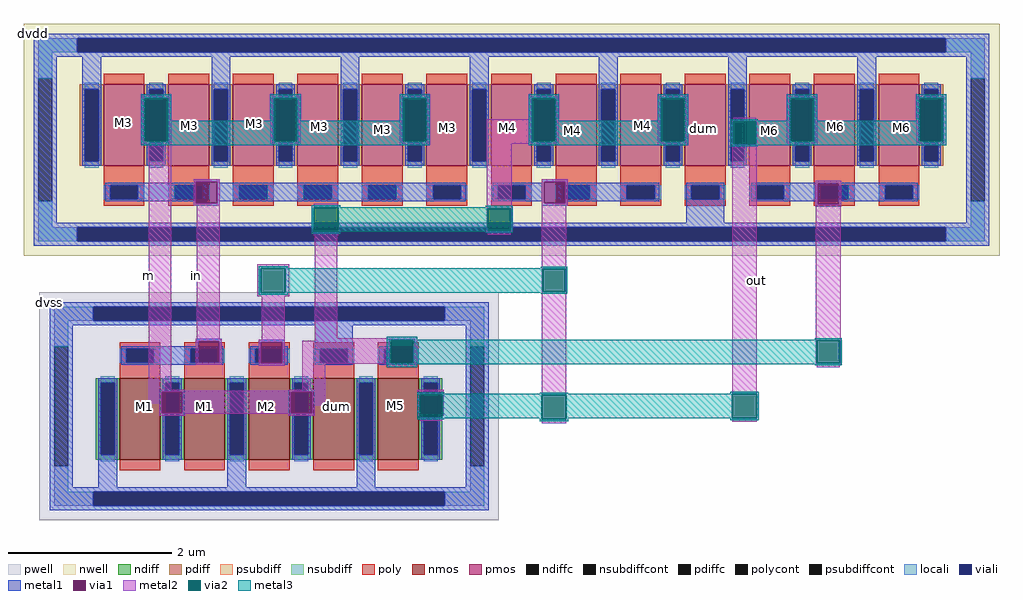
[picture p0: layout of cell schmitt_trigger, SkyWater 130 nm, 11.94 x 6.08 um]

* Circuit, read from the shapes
.subckt schmitt_trigger dvdd in out dvss
XM1 m in dvss dvss sky130_fd_pr__nfet_01v8 w=1 l=0.5 m=2
XM2 m out dvss dvss sky130_fd_pr__nfet_01v8 w=1 l=0.5
XM3 dvss dvss m dvss sky130_fd_pr__nfet_01v8 w=1 l=0.5
XM4 out m dvss dvss sky130_fd_pr__nfet_01v8 w=1 l=0.5
XM5 m in dvdd dvdd sky130_fd_pr__pfet_01v8 w=1 l=0.5 m=6
XM6 m out dvdd dvdd sky130_fd_pr__pfet_01v8 w=1 l=0.5 m=3
XM7 dvdd dvdd m dvdd sky130_fd_pr__pfet_01v8 w=1 l=0.5
XM8 out m dvdd dvdd sky130_fd_pr__pfet_01v8 w=1 l=0.5 m=3
.ends

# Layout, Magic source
magic
tech sky130A
magscale 1 2
<< nwell >>
rect 53 1015 99 1082
<< pwell >>
rect 622 374 714 425
rect 92 29 138 96
rect 408 29 454 96
rect 724 29 770 96
<< viali >>
rect 41 1093 2165 1127
rect 41 631 2165 665
rect 80 436 940 470
rect 80 -16 940 18
<< metal1 >>
rect -66 1127 2272 1138
rect -66 1093 41 1127
rect 2165 1093 2272 1127
rect -66 1082 2272 1093
rect -66 676 -10 1082
rect 53 1015 99 1082
rect 369 1015 415 1082
rect 685 1015 731 1082
rect 1001 1015 1047 1082
rect 1317 1015 1363 1082
rect 1633 1015 1679 1082
rect 1949 1015 1995 1082
rect 202 980 266 986
rect 202 876 208 980
rect 260 876 266 980
rect 202 870 266 876
rect 518 980 582 986
rect 518 876 524 980
rect 576 876 582 980
rect 518 870 582 876
rect 834 980 898 986
rect 834 876 840 980
rect 892 876 898 980
rect 834 870 898 876
rect 1150 980 1214 986
rect 1150 876 1156 980
rect 1208 876 1214 980
rect 1150 870 1214 876
rect 1466 980 1530 986
rect 1466 876 1472 980
rect 1524 876 1530 980
rect 1466 870 1530 876
rect 1782 980 1846 986
rect 1782 876 1788 980
rect 1840 876 1846 980
rect 1782 870 1846 876
rect 2098 980 2162 986
rect 2098 876 2104 980
rect 2156 876 2162 980
rect 2098 870 2162 876
rect 325 776 389 782
rect 325 774 331 776
rect 201 728 331 774
rect 325 724 331 728
rect 383 774 389 776
rect 1177 776 1241 782
rect 1177 774 1183 776
rect 383 728 899 774
rect 1149 728 1183 774
rect 383 724 389 728
rect 325 718 389 724
rect 1177 724 1183 728
rect 1235 774 1241 776
rect 1846 774 1910 779
rect 1235 728 1373 774
rect 1781 773 2005 774
rect 1781 728 1852 773
rect 1235 724 1241 728
rect 1177 718 1241 724
rect 1531 676 1623 728
rect 1846 721 1852 728
rect 1904 728 2005 773
rect 1904 721 1910 728
rect 1846 715 1910 721
rect 2216 676 2272 1082
rect -66 665 2272 676
rect -66 631 41 665
rect 2165 631 2272 665
rect -66 620 2272 631
rect -27 470 1047 481
rect -27 436 80 470
rect 940 436 1047 470
rect -27 425 1047 436
rect -27 29 29 425
rect 330 386 394 392
rect 240 328 306 374
rect 330 334 336 386
rect 388 334 394 386
rect 330 328 394 334
rect 484 384 548 390
rect 484 332 490 384
rect 542 332 548 384
rect 622 374 714 425
rect 803 386 867 392
rect 484 326 548 332
rect 803 334 809 386
rect 861 334 867 386
rect 803 328 867 334
rect 241 262 305 268
rect 241 210 247 262
rect 299 210 305 262
rect 241 204 305 210
rect 557 262 621 268
rect 557 210 563 262
rect 615 210 621 262
rect 557 204 621 210
rect 873 262 937 268
rect 873 210 879 262
rect 931 210 937 262
rect 873 204 937 210
rect 92 29 138 96
rect 408 29 454 96
rect 724 29 770 96
rect 991 29 1047 425
rect -27 18 1047 29
rect -27 -16 80 18
rect 940 -16 1047 18
rect -27 -27 1047 -16
<< via1 >>
rect 208 876 260 980
rect 524 876 576 980
rect 840 876 892 980
rect 1156 876 1208 980
rect 1472 876 1524 980
rect 1788 876 1840 980
rect 2104 876 2156 980
rect 331 724 383 776
rect 1183 724 1235 776
rect 1852 721 1904 773
rect 336 334 388 386
rect 490 332 542 384
rect 809 334 861 386
rect 247 210 299 262
rect 563 210 615 262
rect 879 210 931 262
<< metal2 >>
rect 197 981 271 990
rect 197 875 206 981
rect 262 875 271 981
rect 197 866 271 875
rect 513 981 587 990
rect 513 875 522 981
rect 578 875 587 981
rect 513 866 587 875
rect 829 981 903 990
rect 829 875 838 981
rect 894 875 903 981
rect 1145 981 1219 990
rect 1145 929 1154 981
rect 829 866 903 875
rect 1043 875 1154 929
rect 1210 875 1219 981
rect 1043 869 1219 875
rect 215 268 271 866
rect 325 776 389 782
rect 325 724 331 776
rect 383 724 389 776
rect 325 718 389 724
rect 333 392 389 718
rect 619 714 679 723
rect 1043 712 1103 869
rect 1145 866 1219 869
rect 1461 981 1535 990
rect 1461 875 1470 981
rect 1526 875 1535 981
rect 1777 981 1851 990
rect 1645 926 1701 933
rect 1461 866 1535 875
rect 1643 924 1703 926
rect 1643 868 1645 924
rect 1701 868 1703 924
rect 1043 656 1045 712
rect 1101 656 1103 712
rect 1043 654 1103 656
rect 1177 776 1241 782
rect 1177 724 1183 776
rect 1235 724 1241 776
rect 1177 718 1241 724
rect 619 645 679 654
rect 1045 647 1101 654
rect 481 565 559 574
rect 481 505 490 565
rect 550 505 559 565
rect 481 496 559 505
rect 330 386 394 392
rect 492 390 548 496
rect 330 334 336 386
rect 388 334 394 386
rect 330 328 394 334
rect 484 384 548 390
rect 621 394 677 645
rect 1177 563 1237 718
rect 1177 507 1179 563
rect 1235 507 1237 563
rect 798 394 872 397
rect 621 388 872 394
rect 621 387 807 388
rect 484 332 490 384
rect 542 332 548 384
rect 484 326 548 332
rect 591 332 807 387
rect 863 332 872 388
rect 591 331 872 332
rect 591 268 647 331
rect 798 323 872 331
rect 215 265 305 268
rect 557 265 647 268
rect 215 262 647 265
rect 215 234 247 262
rect 241 210 247 234
rect 299 210 563 262
rect 615 230 647 262
rect 873 262 937 268
rect 873 256 879 262
rect 931 256 937 262
rect 615 210 621 230
rect 241 209 621 210
rect 241 204 305 209
rect 557 204 621 209
rect 873 204 878 256
rect 934 204 937 256
rect 1177 255 1237 507
rect 878 191 934 200
rect 1177 186 1237 195
rect 1643 258 1703 868
rect 1777 875 1786 981
rect 1842 875 1851 981
rect 1777 866 1851 875
rect 2093 981 2167 990
rect 2093 875 2102 981
rect 2158 875 2167 981
rect 2093 866 2167 875
rect 1846 773 1910 779
rect 1846 721 1852 773
rect 1904 721 1910 773
rect 1846 715 1910 721
rect 1848 388 1908 715
rect 1848 332 1850 388
rect 1906 332 1908 388
rect 1848 330 1908 332
rect 1850 323 1906 330
rect 1643 189 1703 198
<< via2 >>
rect 206 980 262 981
rect 206 876 208 980
rect 208 876 260 980
rect 260 876 262 980
rect 206 875 262 876
rect 522 980 578 981
rect 522 876 524 980
rect 524 876 576 980
rect 576 876 578 980
rect 522 875 578 876
rect 838 980 894 981
rect 838 876 840 980
rect 840 876 892 980
rect 892 876 894 980
rect 838 875 894 876
rect 1154 980 1210 981
rect 1154 876 1156 980
rect 1156 876 1208 980
rect 1208 876 1210 980
rect 1154 875 1210 876
rect 619 654 679 714
rect 1470 980 1526 981
rect 1470 876 1472 980
rect 1472 876 1524 980
rect 1524 876 1526 980
rect 1470 875 1526 876
rect 1645 868 1701 924
rect 1045 656 1101 712
rect 490 505 550 565
rect 1179 507 1235 563
rect 807 386 863 388
rect 807 334 809 386
rect 809 334 861 386
rect 861 334 863 386
rect 807 332 863 334
rect 878 210 879 256
rect 879 210 931 256
rect 931 210 934 256
rect 878 200 934 210
rect 1177 195 1237 255
rect 1786 980 1842 981
rect 1786 876 1788 980
rect 1788 876 1840 980
rect 1840 876 1842 980
rect 1786 875 1842 876
rect 2102 980 2158 981
rect 2102 876 2104 980
rect 2104 876 2156 980
rect 2156 876 2158 980
rect 2102 875 2158 876
rect 1850 332 1906 388
rect 1643 198 1703 258
<< metal3 >>
rect 197 981 271 990
rect 197 875 206 981
rect 262 926 271 981
rect 513 981 587 990
rect 513 926 522 981
rect 262 875 522 926
rect 578 926 587 981
rect 829 981 903 990
rect 829 926 838 981
rect 578 875 838 926
rect 894 875 903 981
rect 197 866 903 875
rect 1145 981 1219 990
rect 1145 875 1154 981
rect 1210 926 1219 981
rect 1461 981 1535 990
rect 1461 926 1470 981
rect 1210 875 1470 926
rect 1526 875 1535 981
rect 1777 981 1851 990
rect 1145 866 1535 875
rect 1640 926 1706 929
rect 1777 926 1786 981
rect 1640 924 1786 926
rect 1640 868 1645 924
rect 1701 875 1786 924
rect 1842 926 1851 981
rect 2093 981 2167 990
rect 2093 926 2102 981
rect 1842 875 2102 926
rect 2158 875 2167 981
rect 1701 868 2167 875
rect 1640 866 2167 868
rect 1640 863 1706 866
rect 614 714 684 719
rect 1040 714 1106 717
rect 614 654 619 714
rect 679 712 1106 714
rect 679 656 1045 712
rect 1101 656 1106 712
rect 679 654 1106 656
rect 614 649 684 654
rect 1040 651 1106 654
rect 485 565 555 570
rect 1174 565 1240 568
rect 485 505 490 565
rect 550 563 1240 565
rect 550 507 1179 563
rect 1235 507 1240 563
rect 550 505 1240 507
rect 485 500 555 505
rect 1174 502 1240 505
rect 798 390 872 397
rect 1845 390 1911 393
rect 798 388 1911 390
rect 798 332 807 388
rect 863 332 1850 388
rect 1906 332 1911 388
rect 798 330 1911 332
rect 798 323 872 330
rect 1845 327 1911 330
rect 873 258 939 261
rect 1172 258 1242 260
rect 1638 258 1708 263
rect 873 256 1643 258
rect 873 200 878 256
rect 934 255 1643 256
rect 934 200 1177 255
rect 873 198 1177 200
rect 873 195 939 198
rect 1172 195 1177 198
rect 1237 198 1643 255
rect 1703 198 1708 258
rect 1237 195 1242 198
rect 1172 190 1242 195
rect 1638 193 1708 198
use sky130_fd_pr__nfet_01v8_SCV3UK  sky130_fd_pr__nfet_01v8_SCV3UK_1
transform 1 0 510 0 1 227
box -562 -279 562 279
use sky130_fd_pr__pfet_01v8_BZXTE7  sky130_fd_pr__pfet_01v8_BZXTE7_0
transform 1 0 1103 0 1 879
box -1194 -284 1194 284
<< labels >>
flabel metal1 -27 481 -27 481 0 FreeSans 800 0 0 0 dvss
port 4 nsew
flabel metal1 -66 1138 -66 1138 0 FreeSans 800 0 0 0 dvdd
port 1 nsew
flabel metal2 333 548 333 548 0 FreeSans 800 0 0 0 in
port 2 nsew
flabel metal2 1703 534 1703 534 0 FreeSans 800 0 0 0 out
port 3 nsew
flabel metal2 215 546 215 546 0 FreeSans 800 0 0 0 m
flabel space 154 922 154 922 0 FreeSans 480 0 0 0 M3
flabel space 314 914 314 914 0 FreeSans 480 0 0 0 M3
flabel space 474 918 474 918 0 FreeSans 480 0 0 0 M3
flabel space 634 912 634 912 0 FreeSans 480 0 0 0 M3
flabel space 788 904 788 904 0 FreeSans 480 0 0 0 M3
flabel space 946 908 946 908 0 FreeSans 480 0 0 0 M3
flabel space 1094 908 1094 908 0 FreeSans 480 0 0 0 M4
flabel space 1252 902 1252 902 0 FreeSans 480 0 0 0 M4
flabel space 1424 914 1424 914 0 FreeSans 480 0 0 0 M4
flabel space 1734 902 1734 902 0 FreeSans 480 0 0 0 M6
flabel space 1896 912 1896 912 0 FreeSans 480 0 0 0 M6
flabel space 2056 908 2056 908 0 FreeSans 480 0 0 0 M6
flabel space 204 226 204 226 0 FreeSans 480 0 0 0 M1
flabel space 352 226 352 226 0 FreeSans 480 0 0 0 M1
flabel space 504 226 504 226 0 FreeSans 480 0 0 0 M2
flabel space 820 230 820 230 0 FreeSans 480 0 0 0 M5
flabel space 674 226 674 226 0 FreeSans 480 0 0 0 dum
flabel space 1572 906 1572 906 0 FreeSans 480 0 0 0 dum
<< end >>

# cell sky130_fd_pr__nfet_01v8_SCV3UK: kit device sky130_fd_pr__nfet_01v8, w 1 l 0.50 m 1 nf 5 diffcov 100 polycov 100 guard 1 glc 1 grc 1 gtc 1 gbc 1 tbcov 100 rlcov 100 topc 1 botc 0 poverlap 0 doverlap 1 lmin 0.15 wmin 0.42 compatible {sky130_fd_pr__nfet_01v8 sky130_fd_pr__nfet_01v8_lvt sky130_fd_bs_flash__special_sonosfet_star sky130_fd_pr__nfet_g5v0d10v5 sky130_fd_pr__nfet_05v0_nvt sky130_fd_pr__nfet_03v3_nvt} full_metal 1 viasrc 100 viadrn 100 viagate 100 viagb 0 viagr 0 viagl 0 viagt 0

# cell sky130_fd_pr__pfet_01v8_BZXTE7: kit device sky130_fd_pr__pfet_01v8, w 1 l 0.5 m 1 nf 13 diffcov 100 polycov 100 guard 1 glc 1 grc 1 gtc 1 gbc 1 tbcov 100 rlcov 100 topc 0 botc 1 poverlap 0 doverlap 1 lmin 0.15 wmin 0.42 compatible {sky130_fd_pr__pfet_01v8 sky130_fd_pr__pfet_01v8_lvt sky130_fd_pr__pfet_01v8_hvt sky130_fd_pr__pfet_g5v0d10v5} full_metal 1 viasrc 100 viadrn 100 viagate 100 viagb 0 viagr 0 viagl 0 viagt 0
